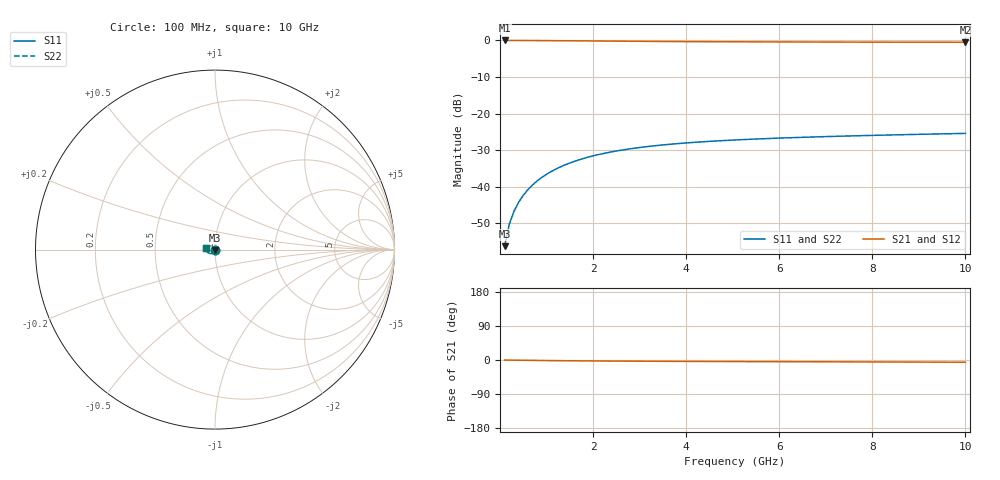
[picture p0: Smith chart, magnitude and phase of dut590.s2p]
! Touchstone file exported from HFSS 2024.1.0
!  File:  C:/UserFiles/LocalFiles/RDL_TSV_Batchsim/temp_TSV1_590_1779710208.aedt
!  Generated:  08:04:58 PM May 25, 2026
!  Design:  TSV1
!  Project:  temp_TSV1_590_1779710208
!  Setup:  Setup1
!  Solution:  Sweep
! Variables:
!  dtsv = 11.69um
!  hbump = 3um
!  htsv = 90.75um
!  lrdl = 252.1521522um
!  p = 40
!  p1 = 59.96um
!  t = 500um
!  trdl = 3um
!  wrdl = 24.89489489um
# GHz S MA R 50.000000
! Terminal data exported
! Port[1] = TSV22_T1
! Port[2] = TSV22_T2
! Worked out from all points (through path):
!   100 points, 100 MHz to 10 GHz, reference 50 ohm
!   highest |S21| = 0.00 dB at 100 MHz (marker M1); lowest = -0.5 dB at 10 GHz (marker M2)
!   lowest |S11| = -56.3 dB at 100 MHz (marker M3), VSWR 1.00, Z = 50 - j0.153 ohm
!   |S11| at or under -10 dB: start of sweep to end of sweep
!   |S22| runs from -56.3 to -25.4 dB; largest |S21 - S12| = 3.3e-15
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0.1  0.001534 -87.8  0.9998 -0.2  0.9998 -0.2  0.001534 -87.8
! Gamma 0 0 0 0
! Port Impedance 50 0 50 0
0.2  0.003062 -91.8  0.9996 -0.3  0.9996 -0.3  0.003062 -91.8
0.3  0.004586 -94.5  0.9994 -0.5  0.9994 -0.5  0.004586 -94.5
0.4  0.006103 -96.8  0.999 -0.6  0.999 -0.6  0.006103 -96.8
0.5  0.007605 -99.1  0.9985 -0.8  0.9985 -0.8  0.007605 -99.1
0.6  0.009089 -101.2  0.9979 -0.9  0.9979 -0.9  0.009089 -101.2
0.7  0.01055 -103.3  0.9972 -1.0  0.9972 -1.0  0.01055 -103.3
0.8  0.01198 -105.4  0.9965 -1.2  0.9965 -1.2  0.01198 -105.4
0.9  0.01338 -107.4  0.9957 -1.3  0.9957 -1.3  0.01338 -107.4
1.1  0.01609 -111.3  0.9939 -1.6  0.9939 -1.6  0.01609 -111.3
1.4  0.01987 -116.8  0.9908 -1.9  0.9908 -1.9  0.01987 -116.8
1.6  0.02219 -120.3  0.9886 -2.1  0.9886 -2.1  0.02219 -120.3
1.8  0.02435 -123.7  0.9863 -2.3  0.9863 -2.3  0.02435 -123.7
2.1  0.0273 -128.4  0.9829 -2.6  0.9829 -2.6  0.0273 -128.4
2.5  0.03073 -134.2  0.9785 -2.9  0.9785 -2.9  0.03073 -134.2
2.9  0.03364 -139.5  0.9744 -3.1  0.9744 -3.1  0.03364 -139.5
3.4  0.03668 -145.3  0.9698 -3.4  0.9698 -3.4  0.03668 -145.3
4.2  0.04047 -153.5  0.9636 -3.7  0.9636 -3.7  0.04047 -153.5
5.1  0.04367 -161.1  0.9583 -4.1  0.9583 -4.1  0.04367 -161.1
6.7  0.04775 -172.1  0.9518 -4.7  0.9518 -4.7  0.04775 -172.1
8.4  0.05096 178.6  0.9474 -5.3  0.9474 -5.3  0.05097 178.6
10  0.05353 171.2  0.9446 -5.9  0.9446 -5.9  0.05353 171.2
